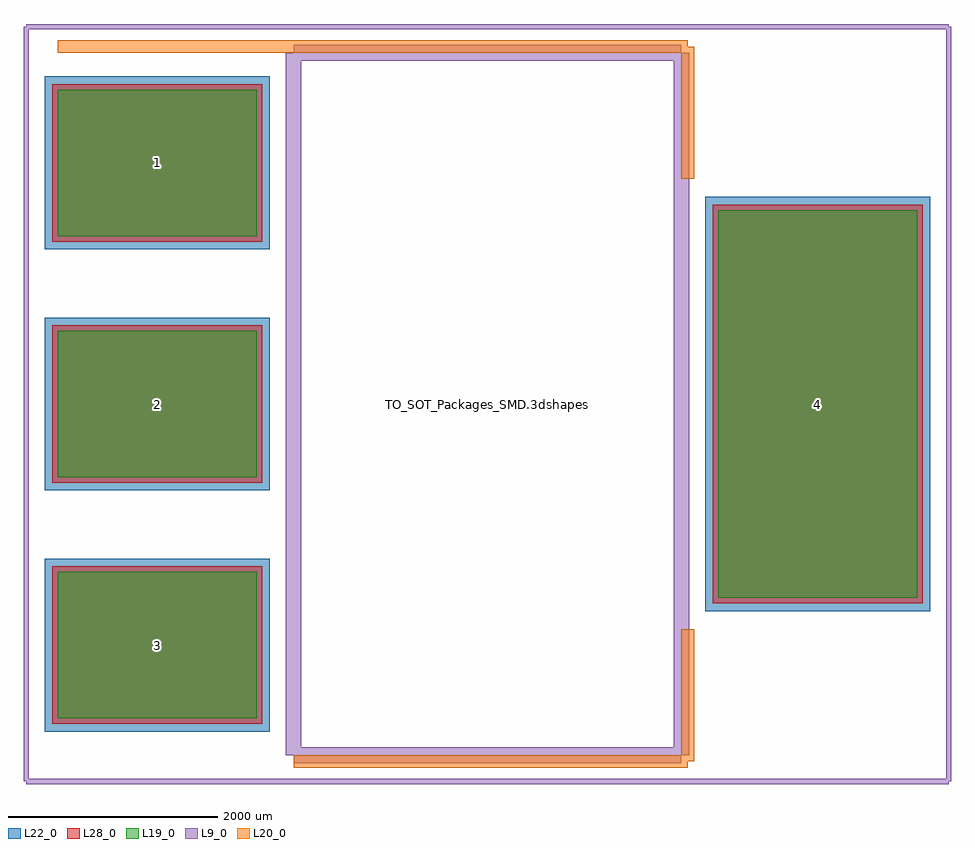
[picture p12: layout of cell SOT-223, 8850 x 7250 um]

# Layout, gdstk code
import gdstk
lib = gdstk.Library(unit=1e-6, precision=1e-09)
def R(c, l, rs):  # rectangles x0, y0, x1, y1
    for r in rs: c.add(gdstk.rectangle(r[:2], r[2:], *l))
def A(c, l, x, y, w, h, nx, ny, dx, dy):  # array of equal rectangles
    R(c, l, [(x+i*dx, y+j*dy, x+i*dx+w, y+j*dy+h) for i in range(nx) for j in range(ny)])
L9_0 = (9, 0)
L19_0 = (19, 0)
L20_0 = (20, 0)
L22_0 = (22, 0)
L28_0 = (28, 0)

sot_223 = lib.new_cell('SOT-223')
A(sot_223, L19_0, -4100, -3000, 1900, 1400, 1, 3, 0, 2300)
R(sot_223, L19_0, [(2200,-1850,4100,1850)])
A(sot_223, L22_0, -4225, -3125, 2150, 1650, 1, 3, 0, 2300)
R(sot_223, L22_0, [(2075,-1975,4225,1975)])
A(sot_223, L28_0, -4150, -3050, 2000, 1500, 1, 3, 0, 2300)
R(sot_223, L28_0, [(2150,-1900,4150,1900)])
sot_223.add(gdstk.FlexPath([(1850,3350),(1850,-3350)], 149.998, ends="flush", simple_path=True, layer=9, datatype=0))  # L9_0
sot_223.add(gdstk.FlexPath([(-1850,-3350),(1850,-3350)], 149.998, ends="flush", simple_path=True, layer=9, datatype=0))  # L9_0
sot_223.add(gdstk.FlexPath([(-4100,3410),(1910,3410)], 119.998, ends="flush", simple_path=True, layer=20, datatype=0))  # L20_0
sot_223.add(gdstk.FlexPath([(-1850,3350),(1850,3350)], 149.998, ends="flush", simple_path=True, layer=9, datatype=0))  # L9_0
sot_223.add(gdstk.FlexPath([(-1850,-3410),(1910,-3410)], 119.998, ends="flush", simple_path=True, layer=20, datatype=0))  # L20_0
sot_223.add(gdstk.FlexPath([(-1850,3350),(-1850,-3350)], 149.998, ends="flush", simple_path=True, layer=9, datatype=0))  # L9_0
sot_223.add(gdstk.FlexPath([(-4400,3600),(-4400,-3600)], 50, ends="flush", simple_path=True, layer=9, datatype=0))  # L9_0
sot_223.add(gdstk.FlexPath([(-4400,-3600),(4400,-3600)], 50, ends="flush", simple_path=True, layer=9, datatype=0))  # L9_0
sot_223.add(gdstk.FlexPath([(4400,-3600),(4400,3600)], 50, ends="flush", simple_path=True, layer=9, datatype=0))  # L9_0
sot_223.add(gdstk.FlexPath([(4400,3600),(-4400,3600)], 50, ends="flush", simple_path=True, layer=9, datatype=0))  # L9_0
sot_223.add(gdstk.FlexPath([(1910,3410),(1910,2150)], 119.998, ends="flush", simple_path=True, layer=20, datatype=0))  # L20_0
sot_223.add(gdstk.FlexPath([(1910,-3410),(1910,-2150)], 119.998, ends="flush", simple_path=True, layer=20, datatype=0))  # L20_0
sot_223.add(gdstk.Label('TO_SOT_Packages_SMD.3dshapes/SOT-223.wrl', (0,0), layer=12, texttype=0))
sot_223.add(gdstk.Label('1', (-3150,2300), layer=28, texttype=0))
sot_223.add(gdstk.Label('3', (-3150,-2300), layer=28, texttype=0))
sot_223.add(gdstk.Label('2', (-3150,0), layer=28, texttype=0))
sot_223.add(gdstk.Label('4', (3150,0), layer=28, texttype=0))
sot_223.add(gdstk.Label('type', (0,-4500), layer=9, texttype=0))
sot_223.add(gdstk.Label('devicename', (0,4500), layer=9, texttype=0))

lib.write_gds('SOT-223.gds')
